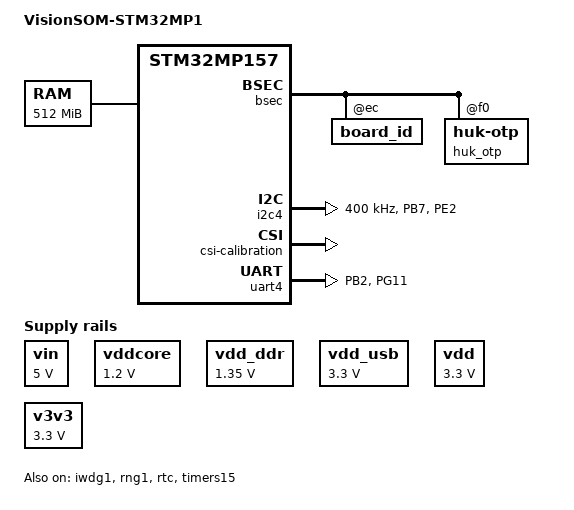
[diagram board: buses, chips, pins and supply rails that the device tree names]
// SPDX-License-Identifier: (GPL-2.0+ OR BSD-3-Clause)
/*
 * Copyright (C) STMicroelectronics 2019 - All Rights Reserved
 * Author: Alexandre Torgue <alexandre.torgue@st.com> for STMicroelectronics.
 */

/dts-v1/;

#include <dt-bindings/clock/stm32mp1-clksrc.h>
#include <dt-bindings/gpio/stm32mp_gpio.h>
#include <dt-bindings/power/stm32mp1-power.h>
#include <dt-bindings/mfd/st,stpmic1.h>
#include <dt-bindings/soc/stm32mp-provisioning.h>
#include <dt-bindings/soc/stm32mp15-etzpc.h>
#include <dt-bindings/tamper/st,stm32-tamp.h>

#include "stm32mp157.dtsi"
#include "stm32mp15xa.dtsi"
#include "stm32mp15-pinctrl.dtsi"
#include "stm32mp15xxaa-pinctrl.dtsi"

/ {
        model = "VisionSOM-STM32MP1";
        compatible = "st,stm32mp157a-hdmi-lt8912b-emmc-mx", "st,stm32mp157";

	aliases {
		serial0 = &uart4;
	};

        clocks {
                clk_hsi: clk-hsi {
                        clock-frequency = <64000000>;
                };
                clk_lse: clk-lse {
                        clock-frequency = <32768>;
                        st,drive = < LSEDRV_MEDIUM_HIGH >;
                };
                clk_hse: clk-hse {
                        clock-frequency = <24000000>;
                        st,digbypass;
                };
        };

        chosen {
                stdout-path = "serial0:115200n8";
        };

	memory@c0000000 {
		device_type = "memory";
		reg = <0xc0000000 0x20000000>;
	};

	reserved-memory {
		#address-cells = <1>;
		#size-cells = <1>;
		ranges;

		gpu_reserved: gpu@d4000000 {
			reg = <0xd4000000 0x4000000>;
			no-map;
		};
	};

	shadow-prov {
		compatible = "st,provisioning";
		hw2_prov {
			nvmem-cells = <&hw2_otp>;
			st,shadow-value = <0x000001E0>;
			st,shadow-lock = <STICKY_LOCK_SR>;
		};
	};

	vin: vin {
		compatible = "regulator-fixed";
		regulator-name = "vin";
		regulator-min-microvolt = <5000000>;
		regulator-max-microvolt = <5000000>;
		regulator-always-on;
	};


        vddcore: regulator-vddcore {
                compatible = "regulator-fixed";
                regulator-name = "vddcore";
                regulator-min-microvolt = <1200000>;
                regulator-max-microvolt = <1200000>;
                regulator-always-on;
        };

        vdd_ddr: regulator-vdd_ddr {
                compatible = "regulator-fixed";
                regulator-name = "vdd_ddr";
                regulator-min-microvolt = <1350000>;
                regulator-max-microvolt = <1350000>;
                regulator-always-on;
        };

        vdd_usb: regulator-vdd_usb {
                compatible = "regulator-fixed";
                regulator-name = "vdd_usb";
                regulator-min-microvolt = <3300000>;
                regulator-max-microvolt = <3300000>;
                regulator-always-on;
        };

        vdd: regulator-vdd {
                compatible = "regulator-fixed";
                regulator-name = "vdd";
                regulator-min-microvolt = <3300000>;
                regulator-max-microvolt = <3300000>;
                regulator-always-on;
        };

        v3v3: regulator-v3v3 {
                compatible = "regulator-fixed";
                regulator-name = "v3v3";
                regulator-min-microvolt = <3300000>;
                regulator-max-microvolt = <3300000>;
                regulator-always-on;
        };
};

&bsec {
	board_id: board_id@ec {
		reg = <0xec 0x4>;
		st,non-secure-otp;
	};
};

&gpu {
	contiguous-area = <&gpu_reserved>;
};

&cpu0{
	cpu-supply = <&vddcore>;
};

&cpu1{
	cpu-supply = <&vddcore>;
};

&i2c4{
	compatible = "st,stm32mp15-i2c-non-secure";
	pinctrl-names = "default";
	pinctrl-0 = <&i2c4_pins_mx>;
        i2c-scl-rising-time-ns = <185>;
        i2c-scl-falling-time-ns = <20>;
        clock-frequency = <400000>;
	status = "okay";
};

&iwdg1 {
	timeout-sec = <32>;
	status = "okay";
};

&osc_calibration {
	csi-calibration {
		status = "okay";
	};

	hsi-calibration {
		status = "okay";
	};
};

&pwr_regulators {
	system_suspend_supported_soc_modes = <
		STM32_PM_CSLEEP_RUN
		STM32_PM_CSTOP_ALLOW_LP_STOP
		STM32_PM_CSTOP_ALLOW_STANDBY_DDR_SR
	>;
	system_off_soc_mode = <STM32_PM_CSTOP_ALLOW_STANDBY_DDR_OFF>;
	vdd-supply = <&vdd>;
	vdd_3v3_usbfs-supply = <&vdd_usb>;
};

&rcc {
        compatible = "st,stm32mp1-rcc-secure";

        pinctrl-names = "default";
        pinctrl-0 = <&rcc_pins_mx>;
        status = "okay";

	st,clksrc = <
                CLK_CKPER_DISABLED
                CLK_ETH_PLL3Q
                CLK_SDMMC12_PLL4P
                CLK_STGEN_HSI
                CLK_I2C46_HSI
                CLK_SDMMC3_PLL4P
                CLK_USBO_USBPHY
                CLK_UART24_PCLK1
                CLK_UART78_PCLK1
                CLK_MPU_PLL1P
                CLK_AXI_PLL2P
                CLK_MCU_PLL3P
                CLK_RTC_LSE
                CLK_DSI_DSIPLL
                CLK_MCO1_DISABLED
                CLK_MCO2_DISABLED
	>;

	st,clkdiv = <
		DIV(DIV_MPU, 1)
		DIV(DIV_AXI, 0)
		DIV(DIV_MCU, 0)
		DIV(DIV_APB1, 1)
		DIV(DIV_APB2, 1)
		DIV(DIV_APB3, 1)
		DIV(DIV_APB4, 1)
		DIV(DIV_APB5, 2)
		DIV(DIV_MCO1, 0)
		DIV(DIV_MCO2, 0)
	>;
        st,pll_vco {
                pll2_vco_1066Mhz: pll2-vco-1066Mhz {
                        src = < CLK_PLL12_HSE >;
                        divmn = < 2 65 >;
                        frac = < 0x1400 >;
                };
                pll3_vco_400Mhz: pll3-vco-400Mhz {
                        src = < CLK_PLL3_HSE >;
                        divmn = < 2 49 >;
                };
                pll4_vco_594Mhz: pll4-vco-594Mhz {
                        src = < CLK_PLL4_HSE >;
                        divmn = < 3 98 >;
                };
        };

        pll2:st,pll@1 {
                compatible = "st,stm32mp1-pll";
                reg = <1>;

                st,pll = < &pll2_cfg1 >;

                pll2_cfg1: pll2_cfg1 {
                        st,pll_vco = < &pll2_vco_1066Mhz >;
                        st,pll_div_pqr = < 1 0 0 >;
                };
        };

        pll3:st,pll@2 {
                compatible = "st,stm32mp1-pll";
                reg = <2>;

                st,pll = < &pll3_cfg1 >;

                pll3_cfg1: pll3_cfg1 {
                        st,pll_vco = < &pll3_vco_400Mhz >;
                        st,pll_div_pqr = < 1 7 31 >;
                };
        };

        pll4:st,pll@3 {
                compatible = "st,stm32mp1-pll";
                reg = <3>;

                st,pll = < &pll4_cfg1 >;

                pll4_cfg1: pll4_cfg1 {
                        st,pll_vco = < &pll4_vco_594Mhz >;
                        st,pll_div_pqr = < 5 7 5 >;
                };
        };
};

&rng1 {
	status = "okay";
};

&rtc {
	status = "okay";
};

&tamp {
	st,tamp-passive-nb-sample = <4>;
	st,tamp-passive-sample-clk-div = <16384>;
};

&timers15 {
	status = "okay";

	counter {
		status = "okay";
	};
};

&uart4 {
        pinctrl-names = "default", "idle", "sleep";
        pinctrl-0 = <&uart4_pins_mx>;
        pinctrl-1 = <&uart4_idle_pins_mx>;
        pinctrl-2 = <&uart4_sleep_pins_mx>;
        status = "okay";

        /delete-property/dmas;
        /delete-property/dma-names;
};

&bsec {
        huk_otp: huk-otp@f0 {
                reg = <0xf0 0x10>;
        };
};

&etzpc {
        st,decprot = <
                DECPROT(STM32MP1_ETZPC_USART1_ID, DECPROT_NS_RW, DECPROT_UNLOCK)
                DECPROT(STM32MP1_ETZPC_SPI6_ID, DECPROT_NS_RW, DECPROT_UNLOCK)
                DECPROT(STM32MP1_ETZPC_I2C4_ID, DECPROT_NS_RW, DECPROT_UNLOCK)
                DECPROT(STM32MP1_ETZPC_I2C6_ID, DECPROT_NS_RW, DECPROT_UNLOCK)
                DECPROT(STM32MP1_ETZPC_RNG1_ID, DECPROT_S_RW, DECPROT_UNLOCK)
                DECPROT(STM32MP1_ETZPC_HASH1_ID, DECPROT_NS_RW, DECPROT_UNLOCK)
                DECPROT(STM32MP1_ETZPC_DDRCTRL_ID, DECPROT_NS_R_S_W, DECPROT_LOCK)
                DECPROT(STM32MP1_ETZPC_DDRPHYC_ID, DECPROT_NS_R_S_W, DECPROT_LOCK)
                DECPROT(STM32MP1_ETZPC_STGENC_ID, DECPROT_S_RW, DECPROT_LOCK)
                DECPROT(STM32MP1_ETZPC_BKPSRAM_ID, DECPROT_S_RW, DECPROT_LOCK)
                DECPROT(STM32MP1_ETZPC_IWDG1_ID, DECPROT_S_RW, DECPROT_LOCK)
        >;
};

&pinctrl {

        i2c4_pins_mx: i2c4_mx-0 {
                pins {
                        pinmux = <STM32_PINMUX('B', 7, AF6)>, /* I2C4_SDA */
                                         <STM32_PINMUX('E', 2, AF4)>; /* I2C4_SCL */
                        bias-pull-up;
                        drive-open-drain;
                        slew-rate = <0>;
                };
        };

        rcc_pins_mx: rcc_mx-0 {
                pins {
                        pinmux = <STM32_PINMUX('C', 14, ANALOG)>, /* RCC_OSC32_IN */
                                         <STM32_PINMUX('C', 15, ANALOG)>, /* RCC_OSC32_OUT */
                                         <STM32_PINMUX('H', 0, ANALOG)>, /* RCC_OSC_IN */
                                         <STM32_PINMUX('H', 1, ANALOG)>; /* RCC_OSC_OUT */
                };
        };

        rtc_pins_mx: rtc_mx-0 {
                pins {
                        pinmux = <STM32_PINMUX('C', 13, ANALOG)>; /* RTC_LSCO */
                };
        };

        uart4_pins_mx: uart4_mx-0 {
                pins1 {
                        pinmux = <STM32_PINMUX('B', 2, AF8)>; /* UART4_RX */
                        bias-disable;
                };
                pins2 {
                        pinmux = <STM32_PINMUX('G', 11, AF6)>; /* UART4_TX */
                        bias-disable;
                        drive-push-pull;
                        slew-rate = <0>;
                };
        };

        uart4_idle_pins_mx: uart4_idle_mx-0 {
                pins1 {
                        pinmux = <STM32_PINMUX('B', 2, AF8)>; /* UART4_RX */
                        bias-disable;
                };
                pins2 {
                        pinmux = <STM32_PINMUX('G', 11, ANALOG)>; /* UART4_TX */
                };
        };

        uart4_sleep_pins_mx: uart4_sleep_mx-0 {
                pins {
                        pinmux = <STM32_PINMUX('B', 2, ANALOG)>, /* UART4_RX */
                                         <STM32_PINMUX('G', 11, ANALOG)>; /* UART4_TX */
                };
        };
};
